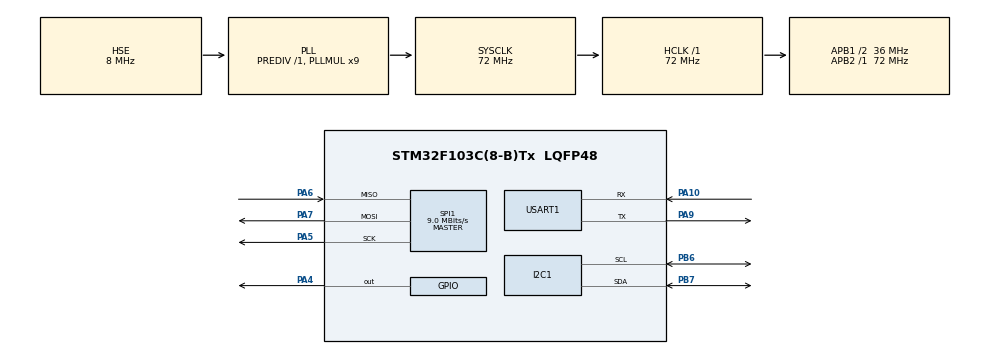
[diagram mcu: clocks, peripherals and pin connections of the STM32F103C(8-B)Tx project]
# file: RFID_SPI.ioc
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Mcu.Family=STM32F1
Mcu.Name=STM32F103C(8-B)Tx
Mcu.Package=LQFP48
NVIC.PriorityGroup=NVIC_PRIORITYGROUP_4
PA10.Mode=Asynchronous
PA10.Signal=USART1_RX
PA13.Mode=Serial_Wire
PA13.Signal=SYS_JTMS-SWDIO
PA14.Mode=Serial_Wire
PA14.Signal=SYS_JTCK-SWCLK
PA4.Signal=GPIO_Output
PA5.Mode=Full_Duplex_Master
PA5.Signal=SPI1_SCK
PA6.Mode=Full_Duplex_Master
PA6.Signal=SPI1_MISO
PA7.Mode=Full_Duplex_Master
PA7.Signal=SPI1_MOSI
PA9.Mode=Asynchronous
PA9.Signal=USART1_TX
PB6.Mode=I2C
PB6.Signal=I2C1_SCL
PB7.Mode=I2C
PB7.Signal=I2C1_SDA
PD0-OSC_IN.Mode=HSE-External-Oscillator
PD0-OSC_IN.Signal=RCC_OSC_IN
PD1-OSC_OUT.Mode=HSE-External-Oscillator
PD1-OSC_OUT.Signal=RCC_OSC_OUT
ProjectManager.HeapSize=0x200
ProjectManager.StackSize=0x400
ProjectManager.TargetToolchain=Makefile
RCC.AHBFreq_Value=72000000
RCC.APB1CLKDivider=RCC_HCLK_DIV2
RCC.APB1Freq_Value=36000000
RCC.APB1TimFreq_Value=72000000
RCC.APB2Freq_Value=72000000
RCC.APB2TimFreq_Value=72000000
RCC.HCLKFreq_Value=72000000
RCC.PLLMUL=RCC_PLL_MUL9
RCC.PLLSourceVirtual=RCC_PLLSOURCE_HSE
RCC.SYSCLKFreq_VALUE=72000000
RCC.SYSCLKSource=RCC_SYSCLKSOURCE_PLLCLK
RCC.USBFreq_Value=72000000
SPI1.BaudRatePrescaler=SPI_BAUDRATEPRESCALER_8
SPI1.CalculateBaudRate=9.0 MBits/s
SPI1.Direction=SPI_DIRECTION_2LINES
SPI1.Mode=SPI_MODE_MASTER
SPI1.VirtualType=VM_MASTER
USART1.VirtualMode=VM_ASYNC
board=custom

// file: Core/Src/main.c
/* USER CODE BEGIN Header */
/**
  ******************************************************************************
  * @file           : main.c
  * @brief          : Main program body
  ******************************************************************************
  * @attention
  *
  * Copyright (c) 2022 STMicroelectronics.
  * All rights reserved.
  *
  * This software is licensed under terms that can be found in the LICENSE file
  * in the root directory of this software component.
  * If no LICENSE file comes with this software, it is provided AS-IS.
  *
  ******************************************************************************
  */
/* USER CODE END Header */
#include "main.h"
#include "i2c.h"
#include "spi.h"
#include "usart.h"
#include "gpio.h"

/* USER CODE BEGIN Includes */
#include "rc522.h"
#include "stdio.h"
#include "i2c-lcd.h"
/* USER CODE END Includes */

/* USER CODE BEGIN PV */
uint8_t CardID[5] = {0};
char szBuff[100]= {0};
/* USER CODE END PV */

void SystemClock_Config(void);

int main(void)
{

  /* MCU Configuration--------------------------------------------------------*/

  /* Reset of all peripherals, Initializes the Flash interface and the Systick. */
  HAL_Init();

  /* Configure the system clock */
  SystemClock_Config();

  /* Initialize all configured peripherals */
  MX_GPIO_Init();
  MX_USART1_UART_Init();
  MX_SPI1_Init();
  MX_I2C1_Init();
  /* USER CODE BEGIN 2 */
  //TM_MFRC522_Init();
  rc522_init();
  lcd_init();
  lcd_clear_display();
  /* USER CODE END 2 */

  /* Infinite loop */
  while (1)
  {

    /* USER CODE BEGIN 3 */
    // if (TM_MFRC522_Check(CardID) == MI_OK)
    // {
		// 	sprintf(szBuff, "ID: 0x%02X%02X%02X%02X%02X", CardID[0], CardID[1], CardID[2], CardID[3], CardID[4]);
    //   HAL_Delay(2000);
		// }
    //HAL_UART_Transmit(&huart1, "waiting!", strlen("waiting!"), 1000);
    lcd_goto_XY(1,0);
    lcd_send_string("Waiting.....");
    HAL_Delay(100);
    if(rc522_check(CardID) == RC522_OK)
    {
      sprintf(szBuff, "ID: %02X %02X %02X %02X", CardID[0], CardID[1], CardID[2], CardID[3]);
      //HAL_UART_Transmit(&huart1, (uint8_t *)szBuff, strlen(szBuff), 1000);
      lcd_clear_display();
      lcd_goto_XY(1,0);
      lcd_send_string("MandeviceLab");
      lcd_goto_XY(2,0);
      lcd_send_string(szBuff);
      HAL_Delay(4000);
      lcd_clear_display();
    }
  }
  /* USER CODE END 3 */
}

void SystemClock_Config(void)
{
  RCC_OscInitTypeDef RCC_OscInitStruct = {0};
  RCC_ClkInitTypeDef RCC_ClkInitStruct = {0};

  /** Initializes the RCC Oscillators according to the specified parameters
  * in the RCC_OscInitTypeDef structure.
  */
  RCC_OscInitStruct.OscillatorType = RCC_OSCILLATORTYPE_HSE;
  RCC_OscInitStruct.HSEState = RCC_HSE_ON;
  RCC_OscInitStruct.HSEPredivValue = RCC_HSE_PREDIV_DIV1;
  RCC_OscInitStruct.HSIState = RCC_HSI_ON;
  RCC_OscInitStruct.PLL.PLLState = RCC_PLL_ON;
  RCC_OscInitStruct.PLL.PLLSource = RCC_PLLSOURCE_HSE;
  RCC_OscInitStruct.PLL.PLLMUL = RCC_PLL_MUL9;
  if (HAL_RCC_OscConfig(&RCC_OscInitStruct) != HAL_OK)
  {
    Error_Handler();
  }

  /** Initializes the CPU, AHB and APB buses clocks
  */
  RCC_ClkInitStruct.ClockType = RCC_CLOCKTYPE_HCLK|RCC_CLOCKTYPE_SYSCLK
                              |RCC_CLOCKTYPE_PCLK1|RCC_CLOCKTYPE_PCLK2;
  RCC_ClkInitStruct.SYSCLKSource = RCC_SYSCLKSOURCE_PLLCLK;
  RCC_ClkInitStruct.AHBCLKDivider = RCC_SYSCLK_DIV1;
  RCC_ClkInitStruct.APB1CLKDivider = RCC_HCLK_DIV2;
  RCC_ClkInitStruct.APB2CLKDivider = RCC_HCLK_DIV1;

  if (HAL_RCC_ClockConfig(&RCC_ClkInitStruct, FLASH_LATENCY_2) != HAL_OK)
  {
    Error_Handler();
  }
}

void Error_Handler(void)
{
  __disable_irq();
  while (1)
  {
  }
}
